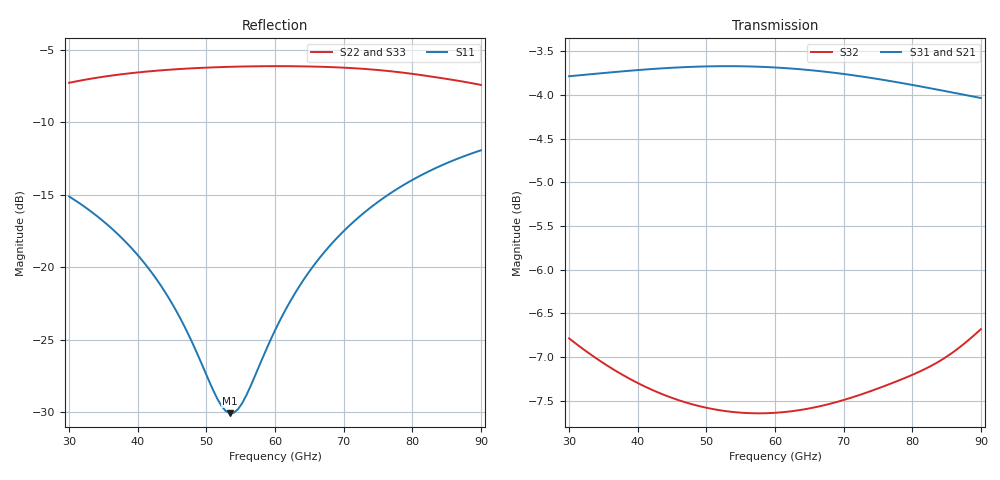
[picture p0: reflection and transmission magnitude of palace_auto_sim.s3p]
#  GHZ S DB R 50
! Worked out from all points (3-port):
!   101 points, 30 GHz to 90 GHz, reference 50 ohm
!   strongest paths, dB at 30 GHz, 45 GHz, 60 GHz, 75 GHz, 90 GHz:
!     S31: -3.8, -3.7, -3.7, -3.8, -4.0
!     S21: -3.8, -3.7, -3.7, -3.8, -4.0
!     S32: -6.8, -7.5, -7.6, -7.4, -6.7
!   lowest |S11| = -30.1 dB at 53.4 GHz (marker M1), VSWR 1.06, Z = 53.2 + j0.479 ohm
!   |S11| at or under -10 dB: start of sweep to end of sweep
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30  -15.13 123.8  -3.79 -45.8  -3.79 -45.8
    -3.79 -45.8  -7.29 43.1  -6.78 -100.4
    -3.79 -45.8  -6.78 -100.4  -7.29 43.1
42  -20.35 95.4  -3.71 -64.6  -3.71 -64.6
    -3.71 -64.6  -6.48 20.4  -7.37 -134.4
    -3.71 -64.6  -7.37 -134.4  -6.49 20.4
51.6  -29.08 35.6  -3.68 -80.0  -3.67 -80.0
      -3.68 -80.0  -6.21 5.2  -7.60 -160.8
      -3.67 -80.0  -7.60 -160.8  -6.22 5.2
53.4  -30.08 8.3  -3.67 -82.9  -3.67 -82.9
      -3.67 -82.9  -6.18 2.5  -7.62 -165.7
      -3.67 -82.9  -7.62 -165.7  -6.19 2.5
55.2  -29.39 -20.1  -3.68 -85.8  -3.67 -85.8
      -3.68 -85.8  -6.16 -0.2  -7.63 -170.6
      -3.67 -85.8  -7.63 -170.6  -6.17 -0.2
60  -24.36 -64.4  -3.69 -93.6  -3.69 -93.6
    -3.69 -93.6  -6.14 -7.3  -7.64 176.2
    -3.69 -93.6  -7.64 176.2  -6.14 -7.4
65.4  -20.04 -86.2  -3.72 -102.3  -3.72 -102.3
      -3.72 -102.3  -6.17 -15.4  -7.58 161.3
      -3.72 -102.3  -7.58 161.3  -6.17 -15.5
72  -16.64 -103.2  -3.78 -112.9  -3.78 -112.9
    -3.78 -112.9  -6.30 -25.9  -7.44 142.8
    -3.78 -112.9  -7.44 142.8  -6.30 -26.0
81  -13.73 -121.4  -3.90 -127.1  -3.90 -127.2
    -3.90 -127.1  -6.73 -41.7  -7.17 117.2
    -3.90 -127.2  -7.17 117.2  -6.73 -41.8
90  -11.94 -137.4  -4.03 -141.1  -4.04 -141.1
    -4.03 -141.1  -7.43 -60.2  -6.68 91.2
    -4.04 -141.1  -6.68 91.2  -7.42 -60.3
